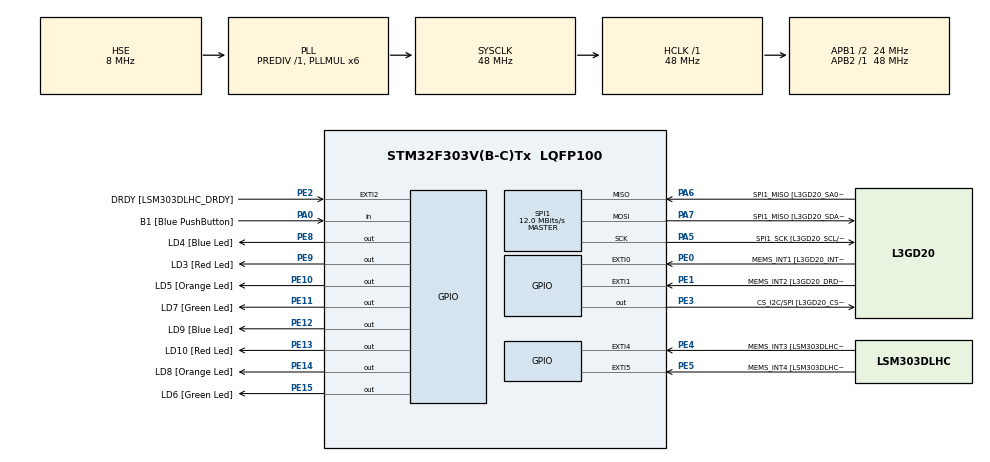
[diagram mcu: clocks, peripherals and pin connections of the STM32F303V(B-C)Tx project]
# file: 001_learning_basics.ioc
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Mcu.Family=STM32F3
Mcu.Name=STM32F303V(B-C)Tx
Mcu.Package=LQFP100
NVIC.PriorityGroup=NVIC_PRIORITYGROUP_0
PA0.GPIO_Label=B1 [Blue PushButton]
PA0.GPIO_PuPd=GPIO_PULLDOWN
PA0.Signal=GPIO_Input
PA11.GPIO_Label=DM
PA11.Signal=USB_DM
PA12.GPIO_Label=DP
PA12.Signal=USB_DP
PA13.GPIO_Label=SWDIO
PA13.Mode=Serial_Wire
PA13.Signal=SYS_JTMS-SWDIO
PA14.GPIO_Label=SWCLK
PA14.Mode=Serial_Wire
PA14.Signal=SYS_JTCK-SWCLK
PA5.GPIO_Label=SPI1_SCK [L3GD20_SCL/SPC]
PA5.Mode=Full_Duplex_Master
PA5.Signal=SPI1_SCK
PA6.GPIO_Label=SPI1_MISO [L3GD20_SA0/SDO]
PA6.Mode=Full_Duplex_Master
PA6.Signal=SPI1_MISO
PA7.GPIO_Label=SPI1_MISO [L3GD20_SDA/SDI/SDO]
PA7.Mode=Full_Duplex_Master
PA7.Signal=SPI1_MOSI
PB3.GPIO_Label=SWO
PB3.Signal=SYS_JTDO-TRACESWO
PB6.GPIO_Label=I2C1_SCL [LSM303DLHC_SCL]
PB6.GPIO_Pu=GPIO_PULLUP
PB6.Signal=I2C1_SCL
PB7.GPIO_Label=I2C1_SDA [LSM303DLHC_SDA]
PB7.GPIO_Pu=GPIO_PULLUP
PB7.Signal=I2C1_SDA
PC14-OSC32_IN.GPIO_Label=OSC32_IN
PC14-OSC32_IN.Signal=RCC_OSC32_IN
PC15-OSC32_OUT.GPIO_Label=OSC32_OUT
PC15-OSC32_OUT.Signal=RCC_OSC32_OUT
PE0.GPIO_Label=MEMS_INT1 [L3GD20_INT1]
PE0.GPIO_ModeDefaultEXTI=GPIO_MODE_EVT_RISING
PE0.Signal=GPXTI0
PE1.GPIO_Label=MEMS_INT2 [L3GD20_DRDY/INT2]
PE1.GPIO_ModeDefaultEXTI=GPIO_MODE_EVT_RISING
PE1.Signal=GPXTI1
PE10.GPIO_Label=LD5 [Orange Led]
PE10.Signal=GPIO_Output
PE11.GPIO_Label=LD7 [Green Led]
PE11.Signal=GPIO_Output
PE12.GPIO_Label=LD9 [Blue Led]
PE12.Signal=GPIO_Output
PE13.GPIO_Label=LD10 [Red Led]
PE13.Signal=GPIO_Output
PE14.GPIO_Label=LD8 [Orange Led]
PE14.Signal=GPIO_Output
PE15.GPIO_Label=LD6 [Green Led]
PE15.Signal=GPIO_Output
PE2.GPIO_Label=DRDY [LSM303DLHC_DRDY]
PE2.GPIO_ModeDefaultEXTI=GPIO_MODE_EVT_RISING
PE2.Signal=GPXTI2
PE3.GPIO_Label=CS_I2C/SPI [L3GD20_CS_I2C/SPI]
PE3.Signal=GPIO_Output
PE4.GPIO_Label=MEMS_INT3 [LSM303DLHC_INT1]
PE4.GPIO_ModeDefaultEXTI=GPIO_MODE_EVT_RISING
PE4.Signal=GPXTI4
PE5.GPIO_Label=MEMS_INT4 [LSM303DLHC_INT2]
PE5.GPIO_ModeDefaultEXTI=GPIO_MODE_EVT_RISING
PE5.Signal=GPXTI5
PE8.GPIO_Label=LD4 [Blue Led]
PE8.Signal=GPIO_Output
PE9.GPIO_Label=LD3 [Red Led]
PE9.Signal=GPIO_Output
PF0-OSC_IN.GPIO_Label=OSC_IN
PF0-OSC_IN.Mode=HSE-External-Clock-Source
PF0-OSC_IN.Signal=RCC_OSC_IN
PF1-OSC_OUT.GPIO_Label=OSC_OUT
PF1-OSC_OUT.Signal=RCC_OSC_OUT
ProjectManager.HeapSize=0x200
ProjectManager.StackSize=0x400
ProjectManager.TargetToolchain=STM32CubeIDE
RCC.AHBFreq_Value=48000000
RCC.APB1CLKDivider=RCC_HCLK_DIV2
RCC.APB1Freq_Value=24000000
RCC.APB1TimFreq_Value=48000000
RCC.APB2Freq_Value=48000000
RCC.APB2TimFreq_Value=48000000
RCC.CortexFreq_Value=48000000
RCC.HCLKFreq_Value=48000000
RCC.HSE_VALUE=8000000
RCC.HSI_VALUE=8000000
RCC.LSE_VALUE=32768
RCC.PLLMUL=RCC_PLL_MUL6
RCC.PLLSourceVirtual=RCC_PLLSOURCE_HSE
RCC.SYSCLKFreq_VALUE=48000000
RCC.SYSCLKSourceVirtual=RCC_SYSCLKSOURCE_PLLCLK
RCC.USBFreq_Value=48000000
SPI1.BaudRatePrescaler=SPI_BAUDRATEPRESCALER_4
SPI1.BaudRatePrescaler-Full_Duplex_Master=SPI_BAUDRATEPRESCALER_2
SPI1.CalculateBaudRate=12.0 MBits/s
SPI1.CalculateBaudRate-Full_Duplex_Master=24.0 MBits/s
SPI1.Direction=SPI_DIRECTION_2LINES
SPI1.Mode=SPI_MODE_MASTER
SPI1.Mode-Full_Duplex_Master=SPI_MODE_MASTER
SPI1.VirtualType=VM_MASTER
VP_TIM2_VS_ClockSourceITR.Mode=TriggerSource_ITR0
VP_TIM2_VS_ControllerModeClock.Mode=Clock Mode
board=STM32F3DISCOVERY

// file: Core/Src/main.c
/* USER CODE BEGIN Header */
/**
  ******************************************************************************
  * @file           : main.c
  * @brief          : Main program body
  ******************************************************************************
  * @attention
  *
  * <h2><center>&copy; Copyright (c) 2021 STMicroelectronics.
  * All rights reserved.</center></h2>
  *
  * This software component is licensed by ST under BSD 3-Clause license,
  * the "License"; You may not use this file except in compliance with the
  * License. You may obtain a copy of the License at:
  *                        opensource.org/licenses/BSD-3-Clause
  *
  ******************************************************************************
  */
/* USER CODE END Header */
#include "main.h"

SPI_HandleTypeDef hspi1;

TIM_HandleTypeDef htim2;

void SystemClock_Config(void);
static void MX_GPIO_Init(void);
static void MX_SPI1_Init(void);
static void MX_TIM2_Init(void);

/* USER CODE BEGIN 0 */
#define LED_COUNT 8
uint16_t debounce_count = 0;
uint16_t round = 0;

void increasing_lum() {
	int leds[][2] = {{LD3_GPIO_Port, LD3_Pin}, {LD10_GPIO_Port, LD10_Pin},
			{LD5_GPIO_Port, LD5_Pin}, {LD8_GPIO_Port, LD8_Pin},
			{LD6_GPIO_Port, LD6_Pin}, {LD7_GPIO_Port, LD7_Pin},
			{LD9_GPIO_Port, LD9_Pin}, {LD4_GPIO_Port, LD4_Pin},};
	if (debounce_count >= 200) {
		debounce_count = 0;
		//turn off prev
		if(round > 1) {
			HAL_GPIO_WritePin(leds[round - 2][0], leds[round - 2][1], 0);
			HAL_GPIO_WritePin(leds[round - 1][0], leds[round - 1][1], 0);
		}
		round = round == LED_COUNT ? 0 : round;

		//turn on next
		HAL_GPIO_WritePin(leds[round][0], leds[round][1], 1);
		HAL_GPIO_WritePin(leds[round + 1][0], leds[round + 1][1], 1);
		round+=2;
	}
}
/* USER CODE END 0 */

int main(void)
{

  /* MCU Configuration--------------------------------------------------------*/

  /* Reset of all peripherals, Initializes the Flash interface and the Systick. */
  HAL_Init();

  /* Configure the system clock */
  SystemClock_Config();

  /* Initialize all configured peripherals */
  MX_GPIO_Init();
  MX_SPI1_Init();
  MX_TIM2_Init();

  /* Infinite loop */
  /* USER CODE BEGIN WHILE */
//  int program_mode = 1;
//  int round = 1;
  while (1)
  {
    /* USER CODE END WHILE */

    /* USER CODE BEGIN 3 */

	while (HAL_GPIO_ReadPin(B1_GPIO_Port, B1_Pin)){
		debounce_count ++;
		if (debounce_count > 999)
			debounce_count = 200;
	}

	increasing_lum();
  }
  /* USER CODE END 3 */
}

void SystemClock_Config(void)
{
  RCC_OscInitTypeDef RCC_OscInitStruct = {0};
  RCC_ClkInitTypeDef RCC_ClkInitStruct = {0};

  /** Initializes the RCC Oscillators according to the specified parameters
  * in the RCC_OscInitTypeDef structure.
  */
  RCC_OscInitStruct.OscillatorType = RCC_OSCILLATORTYPE_HSE;
  RCC_OscInitStruct.HSEState = RCC_HSE_BYPASS;
  RCC_OscInitStruct.HSEPredivValue = RCC_HSE_PREDIV_DIV1;
  RCC_OscInitStruct.HSIState = RCC_HSI_ON;
  RCC_OscInitStruct.PLL.PLLState = RCC_PLL_ON;
  RCC_OscInitStruct.PLL.PLLSource = RCC_PLLSOURCE_HSE;
  RCC_OscInitStruct.PLL.PLLMUL = RCC_PLL_MUL6;
  if (HAL_RCC_OscConfig(&RCC_OscInitStruct) != HAL_OK)
  {
    Error_Handler();
  }
  /** Initializes the CPU, AHB and APB buses clocks
  */
  RCC_ClkInitStruct.ClockType = RCC_CLOCKTYPE_HCLK|RCC_CLOCKTYPE_SYSCLK
                              |RCC_CLOCKTYPE_PCLK1|RCC_CLOCKTYPE_PCLK2;
  RCC_ClkInitStruct.SYSCLKSource = RCC_SYSCLKSOURCE_PLLCLK;
  RCC_ClkInitStruct.AHBCLKDivider = RCC_SYSCLK_DIV1;
  RCC_ClkInitStruct.APB1CLKDivider = RCC_HCLK_DIV2;
  RCC_ClkInitStruct.APB2CLKDivider = RCC_HCLK_DIV1;

  if (HAL_RCC_ClockConfig(&RCC_ClkInitStruct, FLASH_LATENCY_1) != HAL_OK)
  {
    Error_Handler();
  }
}

static void MX_SPI1_Init(void)
{

  /* SPI1 parameter configuration*/
  hspi1.Instance = SPI1;
  hspi1.Init.Mode = SPI_MODE_MASTER;
  hspi1.Init.Direction = SPI_DIRECTION_2LINES;
  hspi1.Init.DataSize = SPI_DATASIZE_4BIT;
  hspi1.Init.CLKPolarity = SPI_POLARITY_LOW;
  hspi1.Init.CLKPhase = SPI_PHASE_1EDGE;
  hspi1.Init.NSS = SPI_NSS_SOFT;
  hspi1.Init.BaudRatePrescaler = SPI_BAUDRATEPRESCALER_4;
  hspi1.Init.FirstBit = SPI_FIRSTBIT_MSB;
  hspi1.Init.TIMode = SPI_TIMODE_DISABLE;
  hspi1.Init.CRCCalculation = SPI_CRCCALCULATION_DISABLE;
  hspi1.Init.CRCPolynomial = 7;
  hspi1.Init.CRCLength = SPI_CRC_LENGTH_DATASIZE;
  hspi1.Init.NSSPMode = SPI_NSS_PULSE_ENABLE;
  if (HAL_SPI_Init(&hspi1) != HAL_OK)
  {
    Error_Handler();
  }

}

static void MX_TIM2_Init(void)
{

  TIM_SlaveConfigTypeDef sSlaveConfig = {0};
  TIM_MasterConfigTypeDef sMasterConfig = {0};

  htim2.Instance = TIM2;
  htim2.Init.Prescaler = 0;
  htim2.Init.CounterMode = TIM_COUNTERMODE_UP;
  htim2.Init.Period = 4294967295;
  htim2.Init.ClockDivision = TIM_CLOCKDIVISION_DIV1;
  htim2.Init.AutoReloadPreload = TIM_AUTORELOAD_PRELOAD_DISABLE;
  if (HAL_TIM_Base_Init(&htim2) != HAL_OK)
  {
    Error_Handler();
  }
  sSlaveConfig.SlaveMode = TIM_SLAVEMODE_EXTERNAL1;
  sSlaveConfig.InputTrigger = TIM_TS_ITR0;
  if (HAL_TIM_SlaveConfigSynchro(&htim2, &sSlaveConfig) != HAL_OK)
  {
    Error_Handler();
  }
  sMasterConfig.MasterOutputTrigger = TIM_TRGO_RESET;
  sMasterConfig.MasterSlaveMode = TIM_MASTERSLAVEMODE_DISABLE;
  if (HAL_TIMEx_MasterConfigSynchronization(&htim2, &sMasterConfig) != HAL_OK)
  {
    Error_Handler();
  }

}

static void MX_GPIO_Init(void)
{
  GPIO_InitTypeDef GPIO_InitStruct = {0};

  /* GPIO Ports Clock Enable */
  __HAL_RCC_GPIOE_CLK_ENABLE();
  __HAL_RCC_GPIOC_CLK_ENABLE();
  __HAL_RCC_GPIOF_CLK_ENABLE();
  __HAL_RCC_GPIOA_CLK_ENABLE();
  __HAL_RCC_GPIOB_CLK_ENABLE();

  /*Configure GPIO pin Output Level */
  HAL_GPIO_WritePin(GPIOE, CS_I2C_SPI_Pin|LD4_Pin|LD3_Pin|LD5_Pin
                          |LD7_Pin|LD9_Pin|LD10_Pin|LD8_Pin
                          |LD6_Pin, GPIO_PIN_RESET);

  /*Configure GPIO pins : DRDY_Pin MEMS_INT3_Pin MEMS_INT4_Pin MEMS_INT1_Pin
                           MEMS_INT2_Pin */
  GPIO_InitStruct.Pin = DRDY_Pin|MEMS_INT3_Pin|MEMS_INT4_Pin|MEMS_INT1_Pin
                          |MEMS_INT2_Pin;
  GPIO_InitStruct.Mode = GPIO_MODE_EVT_RISING;
  GPIO_InitStruct.Pull = GPIO_NOPULL;
  HAL_GPIO_Init(GPIOE, &GPIO_InitStruct);

  /*Configure GPIO pins : CS_I2C_SPI_Pin LD4_Pin LD3_Pin LD5_Pin
                           LD7_Pin LD9_Pin LD10_Pin LD8_Pin
                           LD6_Pin */
  GPIO_InitStruct.Pin = CS_I2C_SPI_Pin|LD4_Pin|LD3_Pin|LD5_Pin
                          |LD7_Pin|LD9_Pin|LD10_Pin|LD8_Pin
                          |LD6_Pin;
  GPIO_InitStruct.Mode = GPIO_MODE_OUTPUT_PP;
  GPIO_InitStruct.Pull = GPIO_NOPULL;
  GPIO_InitStruct.Speed = GPIO_SPEED_FREQ_LOW;
  HAL_GPIO_Init(GPIOE, &GPIO_InitStruct);

  /*Configure GPIO pin : B1_Pin */
  GPIO_InitStruct.Pin = B1_Pin;
  GPIO_InitStruct.Mode = GPIO_MODE_INPUT;
  GPIO_InitStruct.Pull = GPIO_PULLDOWN;
  HAL_GPIO_Init(B1_GPIO_Port, &GPIO_InitStruct);

  /*Configure GPIO pins : DM_Pin DP_Pin */
  GPIO_InitStruct.Pin = DM_Pin|DP_Pin;
  GPIO_InitStruct.Mode = GPIO_MODE_AF_PP;
  GPIO_InitStruct.Pull = GPIO_NOPULL;
  GPIO_InitStruct.Speed = GPIO_SPEED_FREQ_HIGH;
  GPIO_InitStruct.Alternate = GPIO_AF14_USB;
  HAL_GPIO_Init(GPIOA, &GPIO_InitStruct);

  /*Configure GPIO pins : I2C1_SCL_Pin I2C1_SDA_Pin */
  GPIO_InitStruct.Pin = I2C1_SCL_Pin|I2C1_SDA_Pin;
  GPIO_InitStruct.Mode = GPIO_MODE_AF_OD;
  GPIO_InitStruct.Pull = GPIO_PULLUP;
  GPIO_InitStruct.Speed = GPIO_SPEED_FREQ_HIGH;
  GPIO_InitStruct.Alternate = GPIO_AF4_I2C1;
  HAL_GPIO_Init(GPIOB, &GPIO_InitStruct);

}

void Error_Handler(void)
{
  __disable_irq();
  while (1)
  {
  }
}

/************************ (C) COPYRIGHT STMicroelectronics *****END OF FILE****/
